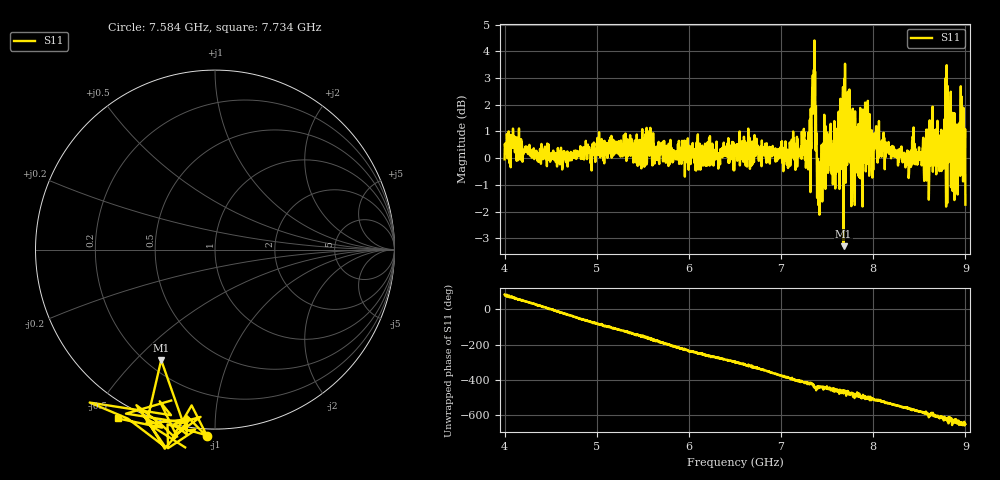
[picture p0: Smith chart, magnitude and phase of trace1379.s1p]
! Created with skrf 1.8.0 (http://scikit-rf.org).
# Hz S RI R 50.0
!freq ReS11 ImS11
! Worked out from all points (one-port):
!   1601 points, 4 GHz to 9 GHz, reference 50 ohm
!   lowest |S11| = -3.3 dB at 7.678 GHz (marker M1), VSWR 5.34, Z = 12.8 - j29.8 ohm
!   |S11| at or under -10 dB: nowhere
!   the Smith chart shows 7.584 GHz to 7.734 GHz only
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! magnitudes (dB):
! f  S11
! 4 GHz  0.0
! 4.094 GHz  0.7
! 4.625 GHz  -0.4
! 5.25 GHz  0.4
! 5.875 GHz  0.2
! 6.5 GHz  0.3
! 7.125 GHz  0.5
! 7.294 GHz  -0.4
! 7.347 GHz  1.7
! 7.362 GHz  4.4
! 7.397 GHz  -1.5
! 7.412 GHz  -0.2
! 7.481 GHz  -1.1
! 7.609 GHz  0.1
! 7.647 GHz  0.0
! 7.678 GHz  -3.3
! 7.719 GHz  0.2
! 7.75 GHz  0.2
! 7.775 GHz  1.7
! 7.8 GHz  -1.8
! 7.928 GHz  0.5
! 8.375 GHz  0.0
! 8.428 GHz  0.8
! 8.766 GHz  1.0
! 8.819 GHz  -0.1
! 8.875 GHz  0.9
! 8.972 GHz  0.8
! 9 GHz  -1.7
